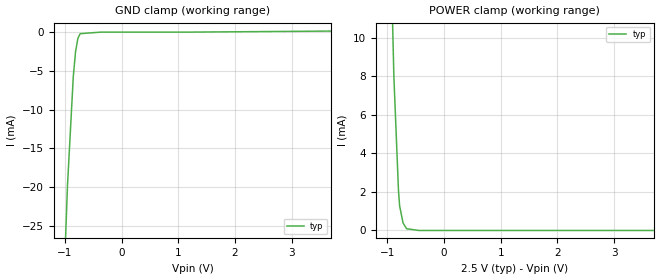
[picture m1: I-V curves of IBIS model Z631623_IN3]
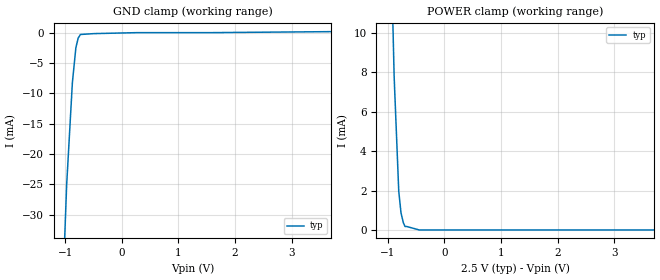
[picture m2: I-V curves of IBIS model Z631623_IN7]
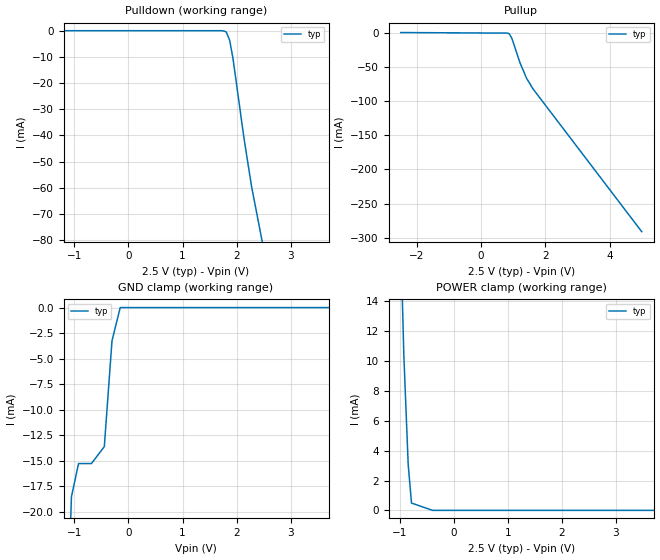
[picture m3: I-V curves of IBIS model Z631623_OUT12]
[IBIS Ver] 3.1
[File Name] mc100lvep210fa_25.ibs
[File Rev] 3.0
[Source] Measured and created by ICX Technology
[Date] 4/7/2003
[Copyright]
| (C) COPYRIGHT 1993-2000
| MENTOR GRAPHICS CORPORATION
| ICX STANDARD LIBRARY, ICX PROJECT MODELING,
| ICX CUSTOM MODELING, ICX VENDOR MODEL
| ALL RIGHTS RESERVED.
| THE FOLLOWING ARE TRADEMARKS OR SERVICE MARKS OF
| MENTOR GRAPHICS CORPORATION:ICX (R), ICX STANDARD
| LIBRARY(R), ICX PROJECT MODELING(R), ICX CUSTOM
| MODELING(R), qualityIBIS(TM), MODELVIEWER(TM),
| AND MODELEDITOR(TM)
| ALL COPIES OF SOFTWARE, INCLUDING BUT NOT LIMITED TO
| ANY MODIFICATIONS, ENHANCEMENTS OR DERIVATIVE WORKS,
| MUST CONTAIN ALL MENTOR GRAPHICS CORPORATION'S
| NOTICES AND LEGENDS, INCLUDING THOSE EMBEDDED IN
| SOFTWARE AND THOSE AFFIXED TO SOFTWARE MEDIUM
| AND CONTAINER, AS RECEIVED FROM MENTOR GRAPHICS
| CORPORATION.
|  ZAP Model Builder 2.8
[Component] MC100LVEP210FA_25
[Manufacturer] OnSemiconductor
[Package]
| variable   typ   min   max
R_pkg  .067ohms NA NA
L_pkg  4.211nH NA NA
C_pkg  1.002pF NA NA
[Pin] signal_name  model_name  R_pin  L_pin C_pin
1 VCC POWER .065 3.973n .928p
2 NC NC .066 4.127n .978p
3 CLKA Z631623_IN3 .068 4.288n 1.027p
4 _CLKA Z631623_IN7 .069 4.455n 1.077p
5 VBB POWER .069 4.455n 1.077p
6 CLKB Z631623_IN3 .068 4.288n 1.027p
7 _CLKB Z631623_IN7 .066 4.127n .978p
8 VEE POWER .065 3.973n .928p
9 VCC POWER .065 3.973n .928p
10 _QB4 Z631623_OUT12 .066 4.127n .978p
11 QB4 Z631623_OUT13 .068 4.288n 1.027p
12 _QB3 Z631623_OUT12 .069 4.455n 1.077p
13 QB3 Z631623_OUT13 .069 4.455n 1.077p
14 _QB2 Z631623_OUT12 .068 4.288n 1.027p
15 QB2 Z631623_OUT13 .066 4.127n .978p
16 VCC POWER .065 3.973n .928p
17 _QB1 Z631623_OUT12 .065 3.973n .928p
18 QB1 Z631623_OUT13 .066 4.127n .978p
19 _QB0 Z631623_OUT12 .068 4.288n 1.027p
20 QB0 Z631623_OUT13 .069 4.455n 1.077p
21 _QA4 Z631623_OUT28 .069 4.455n 1.077p
22 QA4 Z631623_OUT29 .068 4.288n 1.027p
23 _QA3 Z631623_OUT28 .066 4.127n .978p
24 QA3 Z631623_OUT29 .065 3.973n .928p
25 VCC POWER .065 3.973n .928p
26 _QA2 Z631623_OUT28 .066 4.127n .978p
27 QA2 Z631623_OUT29 .068 4.288n 1.027p
28 _QA1 Z631623_OUT28 .069 4.455n 1.077p
29 QA1 Z631623_OUT29 .069 4.455n 1.077p
30 _QA0 Z631623_OUT28 .068 4.288n 1.027p
31 QA0 Z631623_OUT29 .066 4.127n .978p
32 VCC POWER .065 3.973n .928p
[Diff Pin] inv_pin vdiff tdelay_typ tdelay_min tdelay_max
11 10 NA .025ns NA .035ns
13 12 NA .025ns NA .035ns
15 14 NA .025ns NA .035ns
18 17 NA .025ns NA .035ns
20 19 NA .025ns NA .035ns
22 21 NA .025ns NA .035ns
24 23 NA .025ns NA .035ns
27 26 NA .025ns NA .035ns
29 28 NA .025ns NA .035ns
3 4 800mv NA NA NA
31 30 NA .025ns NA .035ns
6 7 800mv NA NA NA
| Models and submodels in the file (6): Z631623_IN3 (Input_ECL), Z631623_IN7 (Input_ECL), Z631623_OUT12 (Output_ECL), Z631623_OUT13 (Output_ECL), Z631623_OUT28 (Output_ECL), Z631623_OUT29 (Output_ECL)
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| (C) COPYRIGHT 1993-2000
| MENTOR GRAPHICS CORPORATION
| ICX STANDARD LIBRARY, ICX PROJECT MODELING,
| ICX CUSTOM MODELING, ICX VENDOR MODEL
| ALL RIGHTS RESERVED.
| THE FOLLOWING ARE TRADEMARKS OR SERVICE MARKS OF
| MENTOR GRAPHICS CORPORATION:ICX (R), ICX STANDARD
| LIBRARY(R), ICX PROJECT MODELING(R), ICX CUSTOM
| MODELING(R), qualityIBIS(TM), MODELVIEWER(TM),
| AND MODELEDITOR(TM)
| ALL COPIES OF SOFTWARE, INCLUDING BUT NOT LIMITED TO
| ANY MODIFICATIONS, ENHANCEMENTS OR DERIVATIVE WORKS,
| MUST CONTAIN ALL MENTOR GRAPHICS CORPORATION'S
| NOTICES AND LEGENDS, INCLUDING THOSE EMBEDDED IN
| SOFTWARE AND THOSE AFFIXED TO SOFTWARE MEDIUM
| AND CONTAINER, AS RECEIVED FROM MENTOR GRAPHICS
| CORPORATION.
| Model Application Version 1.89 2/18/99.
[Model] Z631623_IN3
Model_type Input_ECL
Vinl = 875.0mV
Vinh = 1.335V
C_comp 1.000pF NA NA
| variable typ   min   max
[Voltage Range] 2.500V NA NA
[GND Clamp Reference] 0.000V NA NA
[POWER Clamp Reference] 2.500V NA NA
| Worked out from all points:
|   GND clamp passes 1 mA (typ) near -0.77 V on its own axis
|   POWER clamp passes 1 mA (typ) near -0.76 V on its own axis
[GND Clamp]
-2.5V     -407.5mA   NA         NA
-1.054V   -39.8mA    NA         NA
-953mV    -19.7mA    NA         NA
-851mV    -5.7mA     NA         NA
-811mV    -2.5mA     NA         NA
-770mV    -800uA     NA         NA
-730mV    -200uA     NA         NA
-365mV    0A         NA         NA
1.175V    0A         NA         NA
5V        207.3uA    NA         NA
[POWER Clamp]
-2.5V     256.5mA    NA         NA
-1.007V   22.97mA    NA         NA
-885mV    7.98mA     NA         NA
-804mV    2.085mA    NA         NA
-784mV    1.286mA    NA         NA
-723mV    389uA      NA         NA
-662mV    92.3uA     NA         NA
-441.3mV  0A         NA         NA
5V        0A         NA         NA
| (C) COPYRIGHT 1993-2000
| MENTOR GRAPHICS CORPORATION
| ICX STANDARD LIBRARY, ICX PROJECT MODELING,
| ICX CUSTOM MODELING, ICX VENDOR MODEL
| ALL RIGHTS RESERVED.
| THE FOLLOWING ARE TRADEMARKS OR SERVICE MARKS OF
| MENTOR GRAPHICS CORPORATION:ICX (R), ICX STANDARD
| LIBRARY(R), ICX PROJECT MODELING(R), ICX CUSTOM
| MODELING(R), qualityIBIS(TM), MODELVIEWER(TM),
| AND MODELEDITOR(TM)
| ALL COPIES OF SOFTWARE, INCLUDING BUT NOT LIMITED TO
| ANY MODIFICATIONS, ENHANCEMENTS OR DERIVATIVE WORKS,
| MUST CONTAIN ALL MENTOR GRAPHICS CORPORATION'S
| NOTICES AND LEGENDS, INCLUDING THOSE EMBEDDED IN
| SOFTWARE AND THOSE AFFIXED TO SOFTWARE MEDIUM
| AND CONTAINER, AS RECEIVED FROM MENTOR GRAPHICS
| CORPORATION.
| Model Application Version 1.89 2/18/99.
[Model] Z631623_IN7
Model_type Input_ECL
Vinl = 875.0mV
Vinh = 1.335V
C_comp 1.000pF NA NA
| variable typ   min   max
[Voltage Range] 2.500V NA NA
[GND Clamp Reference] 0.000V NA NA
[POWER Clamp Reference] 2.500V NA NA
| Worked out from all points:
|   GND clamp passes 1 mA (typ) near -0.77 V on its own axis
|   POWER clamp passes 1 mA (typ) near -0.77 V on its own axis
[GND Clamp]
-2.5V     -501.4mA   NA         NA
-1.095V   -55.5mA    NA         NA
-973mV    -25mA      NA         NA
-872mV    -8.2mA     NA         NA
-811mV    -2.5mA     NA         NA
-770mV    -900uA     NA         NA
-730mV    -300uA     NA         NA
-486.7mV  -157.5uA   NA         NA
263mV     0A         NA         NA
1.551V    0A         NA         NA
5V        267.9uA    NA         NA
[POWER Clamp]
-2.5V     248.5mA    NA         NA
-1.007V   22.45mA    NA         NA
-885mV    7.758mA    NA         NA
-804mV    1.964mA    NA         NA
-764mV    866.9uA    NA         NA
-723mV    370.1uA    NA         NA
-692.5mV  174.8uA    NA         NA
-662mV    174.8uA    NA         NA
-441.3mV  0A         NA         NA
5V        0A         NA         NA
| (C) COPYRIGHT 1993-2000
| MENTOR GRAPHICS CORPORATION
| ICX STANDARD LIBRARY, ICX PROJECT MODELING,
| ICX CUSTOM MODELING, ICX VENDOR MODEL
| ALL RIGHTS RESERVED.
| THE FOLLOWING ARE TRADEMARKS OR SERVICE MARKS OF
| MENTOR GRAPHICS CORPORATION:ICX (R), ICX STANDARD
| LIBRARY(R), ICX PROJECT MODELING(R), ICX CUSTOM
| MODELING(R), qualityIBIS(TM), MODELVIEWER(TM),
| AND MODELEDITOR(TM)
| ALL COPIES OF SOFTWARE, INCLUDING BUT NOT LIMITED TO
| ANY MODIFICATIONS, ENHANCEMENTS OR DERIVATIVE WORKS,
| MUST CONTAIN ALL MENTOR GRAPHICS CORPORATION'S
| NOTICES AND LEGENDS, INCLUDING THOSE EMBEDDED IN
| SOFTWARE AND THOSE AFFIXED TO SOFTWARE MEDIUM
| AND CONTAINER, AS RECEIVED FROM MENTOR GRAPHICS
| CORPORATION.
| Model Application Version 1.89 2/18/99.
[Model] Z631623_OUT12
Model_type Output_ECL
Vref=500.0mV
Rref=50.00ohms
Cref=0.000F
Vmeas=1.100V
C_comp 1.000pF NA NA
| variable typ   min   max
[Voltage Range] 2.500V NA NA
[POWER Clamp Reference] 2.500V NA NA
[Pullup Reference] 2.500V NA NA
[Pulldown Reference] 2.500V NA NA
[GND Clamp Reference] 0.000V NA NA
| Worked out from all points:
|   GND clamp passes 1 mA (typ) near -0.20 V on its own axis
|   POWER clamp passes 1 mA (typ) near -0.79 V on its own axis
[GND Clamp]
-2.5V     -263.2mA   NA         NA
-1.054V   -18.51mA   NA         NA
-922.3mV  -15.26mA   NA         NA
-684.1mV  -15.26mA   NA         NA
-446mV    -13.6mA    NA         NA
-304mV    -3.255mA   NA         NA
-152mV    0A         NA         NA
5V        0A         NA         NA
[Pulldown]
-2.5V     0A         NA         NA
1.73V     0A         NA         NA
1.79V     -300uA     NA         NA
1.811V    -600uA     NA         NA
1.872V    -3.7mA     NA         NA
1.933V    -10.6mA    NA         NA
2.135V    -40.9mA    NA         NA
2.277V    -59.6mA    NA         NA
5V        -350.2mA   NA         NA
[Pullup]
-2.5V     663.7uA    NA         NA
22mV      0A         NA         NA
782mV     0A         NA         NA
843mV     -400uA     NA         NA
884mV     -1.5mA     NA         NA
965mV     -8.7mA     NA         NA
1.208V    -43.3mA    NA         NA
1.41V     -65.8mA    NA         NA
1.613V    -81.7mA    NA         NA
5V        -291.1mA   NA         NA
[POWER Clamp]
-2.5V     228.7mA    NA         NA
-921mV    10.45mA    NA         NA
-840mV    3.073mA    NA         NA
-779mV    489.2uA    NA         NA
-389.5mV  0A         NA         NA
5V        0A         NA         NA
[Ramp]
| variable typ min max
dV/dt_r 478.6m/141.2p NA NA
dV/dt_f 478.6m/147.5p NA NA
R_load = 50.00Ohms
